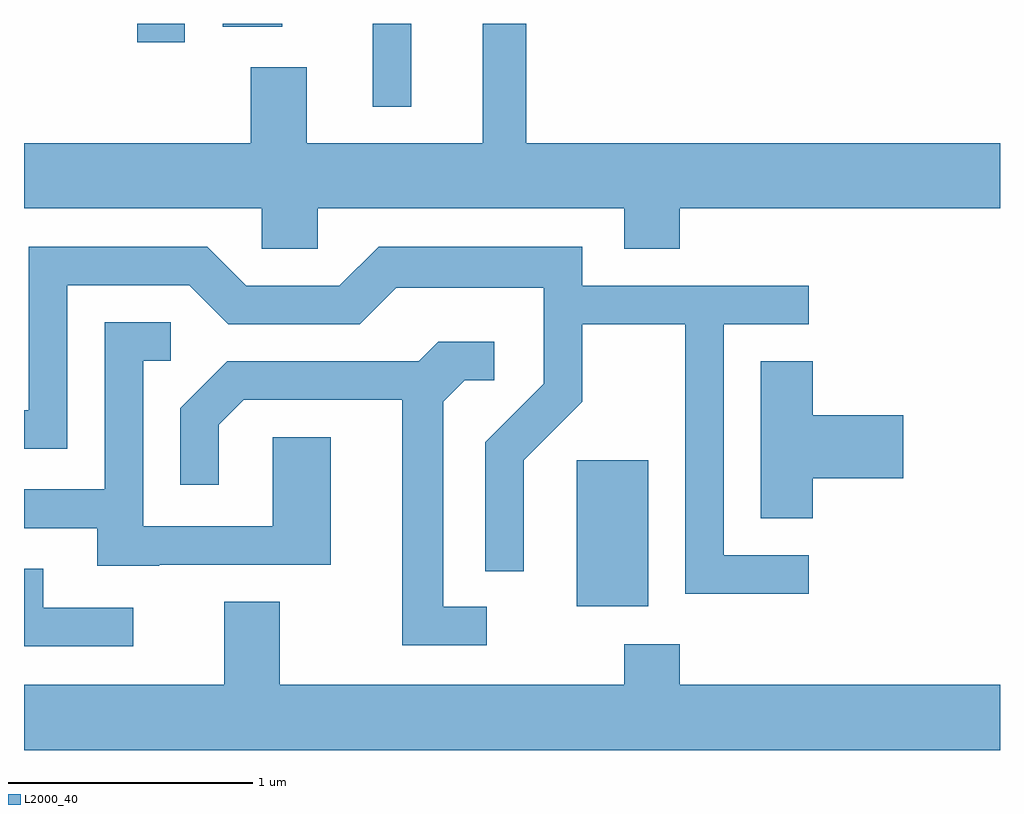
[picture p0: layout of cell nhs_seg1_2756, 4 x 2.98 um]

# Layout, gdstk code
import gdstk
lib = gdstk.Library(unit=1e-6, precision=1e-09)
def R(c, l, rs):  # rectangles x0, y0, x1, y1
    for r in rs: c.add(gdstk.rectangle(r[:2], r[2:], *l))
def P(c, l, *ps):  # polygons
    for p in ps: c.add(gdstk.Polygon(p, *l))
L2000_40 = (2000, 40)

nhs_seg1_2756 = lib.new_cell('nhs_seg1_2756')
R(nhs_seg1_2756, L2000_40, [(271.876,851.326,272.169,851.924), (271.041,853.373,271.199,853.712), (270.076,853.636,270.269,853.712), (270.426,853.701,270.669,853.712)])
P(nhs_seg1_2756, L2000_40, [(270.814,852.956),(272.071,852.956),(272.071,852.791),(272.299,852.791),(272.299,852.956),(273.611,852.956),(273.611,853.224),(271.669,853.224),(271.669,853.712),(271.491,853.712),(271.491,853.224),(270.769,853.224),(270.769,853.534),(270.541,853.534),(270.541,853.224),(269.611,853.224),(269.611,852.956),(270.586,852.956),(270.586,852.791),(270.814,852.791)],
  [(272.828,851.534),(272.479,851.534),(272.479,852.481),(272.828,852.481),(272.828,852.639),(271.899,852.639),(271.899,852.799),(271.064,852.799),(270.904,852.639),(270.522,852.639),(270.362,852.799),(269.631,852.799),(269.631,852.129),(269.611,852.129),(269.611,851.971),(269.789,851.971),(269.789,852.641),(270.289,852.641),(270.449,852.481),(270.987,852.481),(271.137,852.631),(271.741,852.631),(271.741,852.237),(271.501,851.997),(271.501,851.468),(271.659,851.468),(271.659,851.924),(271.899,852.164),(271.899,852.481),(272.321,852.481),(272.321,851.376),(272.828,851.376)],
  [(270.165,851.496),(270.869,851.496),(270.869,852.019),(270.631,852.019),(270.631,851.654),(270.099,851.654),(270.099,852.331),(270.213,852.331),(270.213,852.489),(269.941,852.489),(269.941,851.804),(269.611,851.804),(269.611,851.646),(269.911,851.646),(269.911,851.491),(270.165,851.491)],
  [(271.508,851.324),(271.329,851.324),(271.329,852.164),(271.417,852.251),(271.538,852.251),(271.538,852.409),(271.309,852.409),(271.229,852.329),(270.444,852.329),(270.251,852.137),(270.251,851.823),(270.409,851.823),(270.409,852.069),(270.512,852.171),(271.161,852.171),(271.161,851.166),(271.508,851.166)],
  [(272.844,851.851),(273.214,851.851),(273.214,852.109),(272.844,852.109),(272.844,852.329),(272.631,852.329),(272.631,851.686),(272.844,851.686)],
  [(270.058,851.319),(269.689,851.319),(269.689,851.479),(269.611,851.479),(269.611,851.161),(270.058,851.161)],
  [(273.611,851.004),(272.299,851.004),(272.299,851.169),(272.071,851.169),(272.071,851.004),(270.659,851.004),(270.659,851.344),(270.431,851.344),(270.431,851.004),(269.611,851.004),(269.611,850.736),(273.611,850.736)])

lib.write_gds('nhs_seg1_2756.gds')
